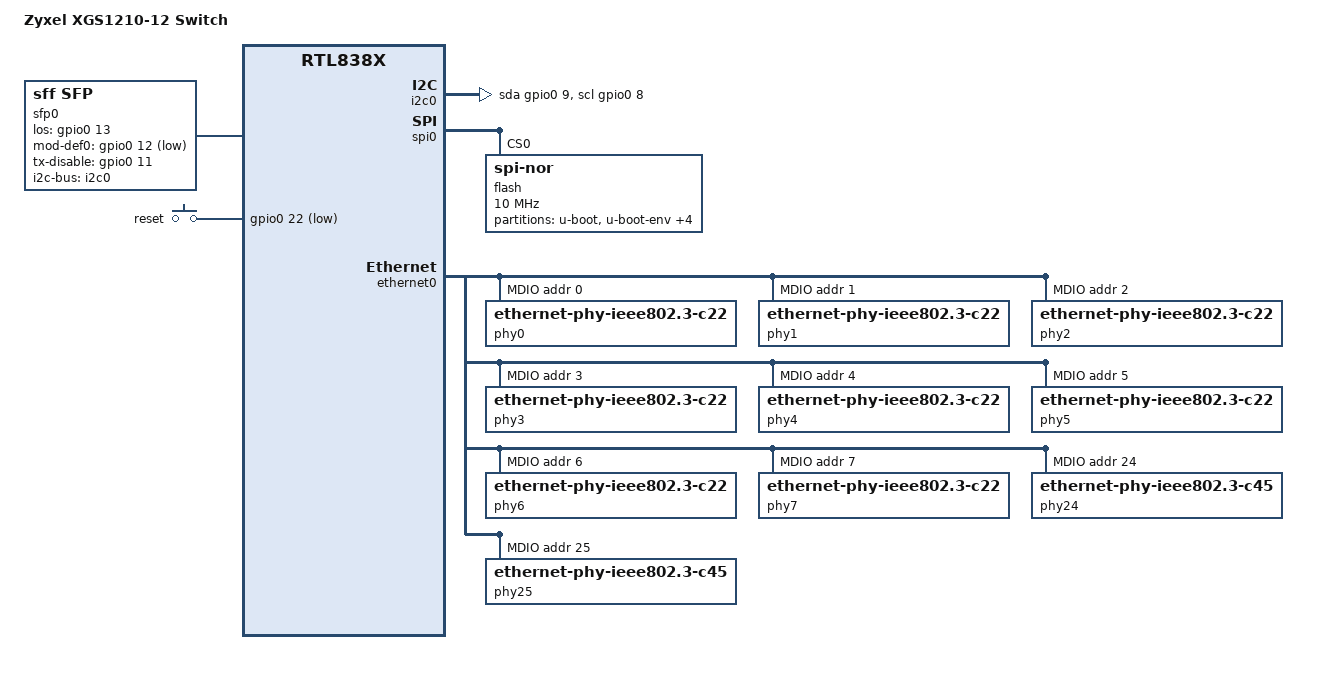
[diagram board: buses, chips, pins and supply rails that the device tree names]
// SPDX-License-Identifier: GPL-2.0-or-later
/dts-v1/;

#include "rtl930x.dtsi"

#include <dt-bindings/input/input.h>
#include <dt-bindings/gpio/gpio.h>

/ {
	compatible = "zyxel,xgs1210-12", "realtek,rtl838x-soc";
	model = "Zyxel XGS1210-12 Switch";

	// mw.l 0xb8003308 0x00200000 active low toggles PHY reset
	// GPIO 21: phy power, needs to be 1
	chosen {
		bootargs = "console=ttyS0,115200";
	};

	/* i2c of the left SFP cage: port 11 */
	i2c0: i2c-gpio-0 {
		compatible = "i2c-gpio";
		sda-gpios = <&gpio0 9 (GPIO_ACTIVE_HIGH | GPIO_OPEN_DRAIN)>;
		scl-gpios = <&gpio0 8 (GPIO_ACTIVE_HIGH | GPIO_OPEN_DRAIN)>;
		i2c-gpio,delay-us = <2>;
		#address-cells = <1>;
		#size-cells = <0>;
	};

	sfp0: sfp-p11 {
		compatible = "sff,sfp";
		i2c-bus = <&i2c0>;
		los-gpio = <&gpio0 13 GPIO_ACTIVE_HIGH>;
//		tx-fault-gpio = <&gpio0 22 GPIO_ACTIVE_HIGH>;
		mod-def0-gpio = <&gpio0 12 GPIO_ACTIVE_LOW>;
		tx-disable-gpio = <&gpio0 11 GPIO_ACTIVE_HIGH>;
	};

	/* i2c of the right SFP cage: port 12
	i2c1: i2c-gpio-1 {
		compatible = "i2c-gpio";
		sda-gpios = <&gpio0 24 (GPIO_ACTIVE_HIGH | GPIO_OPEN_DRAIN)>;
		scl-gpios = <&gpio0 25 (GPIO_ACTIVE_HIGH | GPIO_OPEN_DRAIN)>;
		i2c-gpio,delay-us = <2>;
		#address-cells = <1>;
		#size-cells = <0>;
	};

	sfp1: sfp-p12 {
		compatible = "sff,sfp";
		i2c-bus = <&i2c1>;
		los-gpio = <&gpio0 17 GPIO_ACTIVE_HIGH>;
//		tx-fault-gpio = <&gpio0 28 GPIO_ACTIVE_HIGH>;
		mod-def0-gpio = <&gpio0 16 GPIO_ACTIVE_LOW>;
		tx-disable-gpio = <&gpio0 15 GPIO_ACTIVE_HIGH>;
	};*/

	// Reset-button: GPIO 22
	keys {
		compatible = "gpio-keys-polled";
		poll-interval = <20>;

		mode {
			label = "reset";
			gpios = <&gpio0 22 GPIO_ACTIVE_LOW>;
			linux,code = <KEY_RESTART>;
		};
	};
};

&spi0 {
	status = "okay";
	flash@0 {
		compatible = "jedec,spi-nor";
		reg = <0>;
		spi-max-frequency = <10000000>;

		partitions {
			compatible = "fixed-partitions";
			#address-cells = <1>;
			#size-cells = <1>;

			partition@0 {
				label = "u-boot";
				reg = <0x0 0xe0000>;
				read-only;
			};
			partition@40000 {
				label = "u-boot-env";
				reg = <0xe0000 0x10000>;
				read-only;
			};
			partition@50000 {
				label = "u-boot-env2";
				reg = <0xf0000 0x10000>;
				read-only;
			};
			partition@60000 {
				label = "jffs";
				reg = <0x100000 0x100000>;
			};
			partition@160000 {
				label = "jffs2";
				reg = <0x200000 0x100000>;
			};
			partition@b260000 {
				label = "firmware";
				reg = <0x300000 0xd00000>;
				compatible = "denx,uimage";
			};
		};
	};
};

&ethernet0 {
	mdio: mdio-bus {
		compatible = "realtek,rtl838x-mdio";
		regmap = <&ethernet0>;
		#address-cells = <1>;
		#size-cells = <0>;

		/* Internal phy */
		phy0: ethernet-phy@0 {
			reg = <0>;
			compatible = "ethernet-phy-ieee802.3-c22";
		};
		phy1: ethernet-phy@1 {
			reg = <1>;
			compatible = "ethernet-phy-ieee802.3-c22";
		};
		phy2: ethernet-phy@2 {
			reg = <2>;
			compatible = "ethernet-phy-ieee802.3-c22";
		};
		phy3: ethernet-phy@3 {
			reg = <3>;
			compatible = "ethernet-phy-ieee802.3-c22";
		};
		phy4: ethernet-phy@4 {
			reg = <4>;
			compatible = "ethernet-phy-ieee802.3-c22";
		};
		phy5: ethernet-phy@5 {
			reg = <5>;
			compatible = "ethernet-phy-ieee802.3-c22";
		};
		phy6: ethernet-phy@6 {
			reg = <6>;
			compatible = "ethernet-phy-ieee802.3-c22";
		};
		phy7: ethernet-phy@7 {
			reg = <7>;
			compatible = "ethernet-phy-ieee802.3-c22";
		};

		phy24: ethernet-phy@24 {
			reg = <24>;
			compatible = "ethernet-phy-ieee802.3-c45";
			rtl9300,smi-address = <1 8>;
		};

		phy25: ethernet-phy@25 {
			reg = <25>;
			compatible = "ethernet-phy-ieee802.3-c45";
			rtl9300,smi-address = <2 9>;
		};

		INTERNAL_PHY(26)
//		EXTERNAL_SFP_PHY(27)
	};
};

&switch0 {
	ports {
		#address-cells = <1>;
		#size-cells = <0>;

		port@0 {
			reg = <0>;
			label = "lan1";
			phy-handle = <&phy0>;
			phy-mode = "internal";
		};
		port@1 {
			reg = <1>;
			label = "lan2";
			phy-handle = <&phy1>;
			phy-mode = "internal";
		};
		port@2 {
			reg = <2>;
			label = "lan3";
			phy-handle = <&phy2>;
			phy-mode = "internal";
		};
		port@3 {
			reg = <3>;
			label = "lan4";
			phy-handle = <&phy3>;
			phy-mode = "internal";
		};
		port@4 {
			reg = <4>;
			label = "lan5";
			phy-handle = <&phy4>;
			phy-mode = "internal";
		};
		port@5 {
			reg = <5>;
			label = "lan6";
			phy-handle = <&phy5>;
			phy-mode = "internal";
		};
		port@6 {
			reg = <6>;
			label = "lan7";
			phy-handle = <&phy6>;
			phy-mode = "internal";
		};
		port@7 {
			reg = <7>;
			label = "lan8";
			phy-handle = <&phy7>;
			phy-mode = "internal";
		};

		port@24 {
			reg = <24>;
			label = "lan9";
			phy-mode = "hsgmii";
			phy-handle = <&phy24>;
		};
		port@25 {
			reg = <25>;
			label = "lan10";
			phy-mode = "hsgmii";
			phy-handle = <&phy25>;
		};


		/* SFP cages */
		port@26 {
			reg = <26>;
			label = "lan11";
			phy-mode = "1000base-x";  /* 1000base-x 10gbase-kr */
			phy-handle = <&phy26>;
/*			managed = "in-band-status"; */
			sfp = <&sfp0>;

			fixed-link {
				speed = <1000>;
				full-duplex;
				pause;
			};

		};

		/* SFP cages
		port@27 {
			reg = <27>;
			label = "lan12";
			phy-mode = "1000base-x";
			phy-handle = <&phy27>;
			sfp = <&sfp1>;

			fixed-link {
				speed = <1000>;
				full-duplex;
				pause;
			};

		}; */

		port@28 {
			ethernet = <&ethernet0>;
			reg = <28>;
			phy-mode = "internal";
			fixed-link {
				speed = <1000>;
				full-duplex;
			};
		};
	};
};
